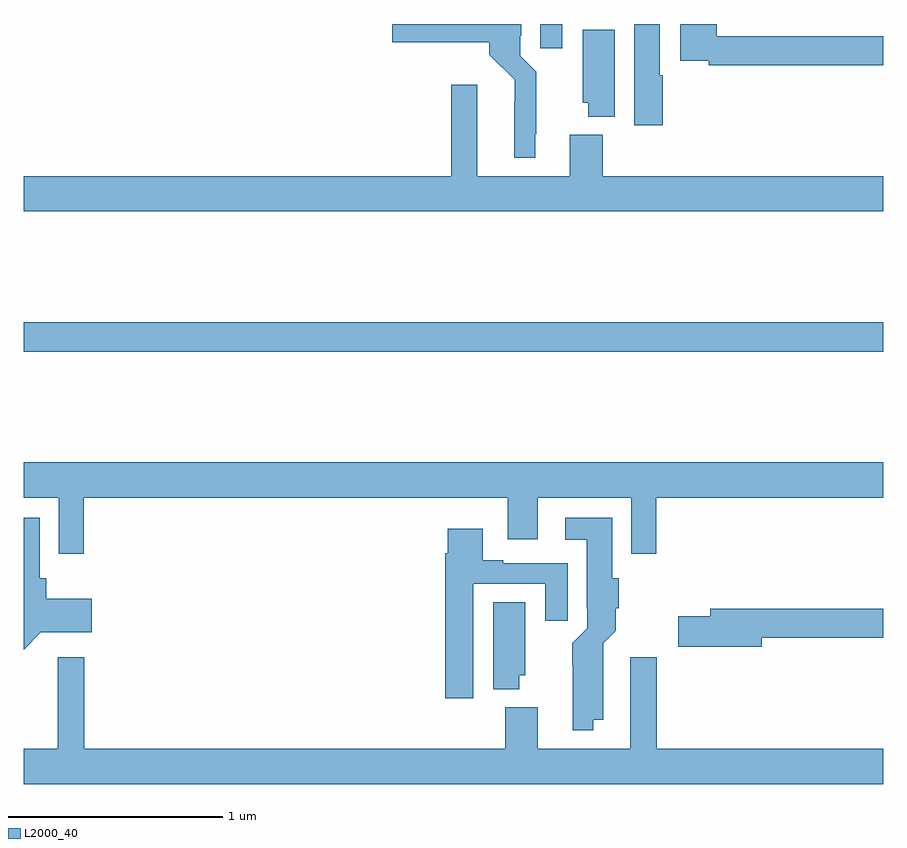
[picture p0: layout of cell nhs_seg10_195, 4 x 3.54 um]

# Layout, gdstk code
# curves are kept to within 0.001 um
import gdstk
lib = gdstk.Library(unit=1e-6, precision=1e-09)
def R(c, l, rs):  # rectangles x0, y0, x1, y1
    for r in rs: c.add(gdstk.rectangle(r[:2], r[2:], *l))
def P(c, l, *ps):  # polygons
    for p in ps: c.add(gdstk.Polygon(p, *l))
L2000_40 = (2000, 40)

nhs_seg10_195 = lib.new_cell('nhs_seg10_195')
R(nhs_seg10_195, L2000_40, [(119,1320.976,123,1321.112), (121.403,1322.388,121.507,1322.5)])
P(nhs_seg10_195, L2000_40, [(121.973,1322.261),(121.96,1322.261),(121.96,1322.5),(121.841,1322.5),(121.841,1322.028),(121.973,1322.028)],
  [(121.381,1321.987),(121.385,1321.987),(121.385,1322.278),(121.311,1322.352),(121.311,1322.446),(121.315,1322.446),(121.315,1322.5),(120.714,1322.5),(120.714,1322.414),(121.166,1322.414),(121.166,1322.358),(121.284,1322.24),(121.283,1321.877),(121.381,1321.877)],
  [(123,1322.444),(122.225,1322.444),(122.225,1322.5),(122.054,1322.5),(122.054,1322.328),(122.188,1322.328),(122.188,1322.308),(123,1322.308)],
  [(121.75,1322.474),(121.601,1322.474),(121.601,1322.133),(121.628,1322.133),(121.628,1322.069),(121.75,1322.069)],
  [(123,1321.792),(121.694,1321.792),(121.694,1321.984),(121.541,1321.984),(121.541,1321.792),(121.111,1321.792),(121.111,1322.218),(120.989,1322.218),(120.989,1321.792),(119,1321.792),(119,1321.628),(123,1321.628)],
  [(119.279,1320.296),(121.253,1320.296),(121.253,1320.102),(121.393,1320.102),(121.393,1320.296),(121.827,1320.296),(121.827,1320.036),(121.943,1320.036),(121.943,1320.296),(123,1320.296),(123,1320.46),(119,1320.46),(119,1320.296),(119.163,1320.296),(119.163,1320.036),(119.279,1320.036)],
  [(119.079,1319.669),(119.317,1319.669),(119.317,1319.827),(119.105,1319.827),(119.105,1319.922),(119.074,1319.922),(119.074,1320.202),(119,1320.202),(119,1319.589)],
  [(121.651,1319.264),(121.696,1319.264),(121.697,1319.618),(121.756,1319.677),(121.756,1319.782),(121.769,1319.782),(121.769,1319.922),(121.738,1319.922),(121.738,1320.202),(121.521,1320.202),(121.521,1320.101),(121.619,1320.101),(121.619,1319.782),(121.623,1319.782),(121.623,1319.688),(121.553,1319.618),(121.554,1319.213),(121.651,1319.213)],
  [(121.093,1319.895),(121.427,1319.895),(121.427,1319.724),(121.531,1319.724),(121.531,1319.991),(121.231,1319.991),(121.231,1320.004),(121.135,1320.004),(121.135,1320.151),(120.974,1320.151),(120.974,1320.038),(120.962,1320.038),(120.962,1319.364),(121.093,1319.364)],
  [(121.306,1319.469),(121.333,1319.469),(121.333,1319.81),(121.184,1319.81),(121.184,1319.405),(121.306,1319.405)],
  [(122.434,1319.644),(123,1319.644),(123,1319.78),(122.195,1319.78),(122.195,1319.744),(122.046,1319.744),(122.046,1319.602),(122.434,1319.602)],
  [(123,1319.128),(121.946,1319.128),(121.946,1319.554),(121.823,1319.554),(121.823,1319.128),(121.393,1319.128),(121.393,1319.32),(121.241,1319.32),(121.241,1319.128),(119.282,1319.128),(119.282,1319.554),(119.159,1319.554),(119.159,1319.128),(119,1319.128),(119,1318.964),(123,1318.964)])

lib.write_gds('nhs_seg10_195.gds')
